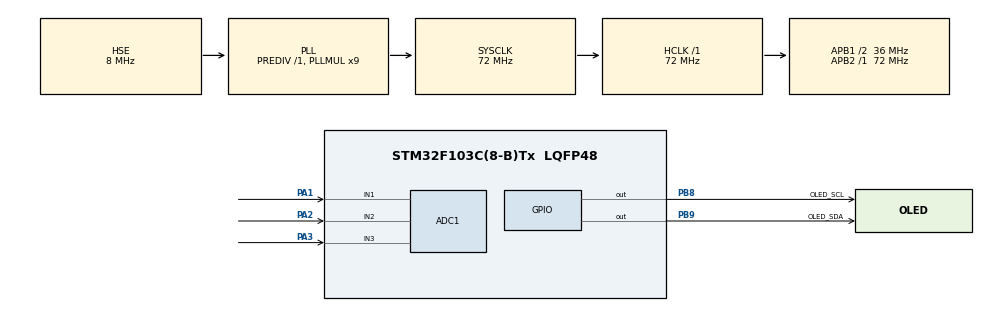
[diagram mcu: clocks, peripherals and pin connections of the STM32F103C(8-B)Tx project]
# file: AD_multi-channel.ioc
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ADC1.Channel-0\#ChannelRegularConversion=ADC_CHANNEL_1
ADC1.NbrOfConversionFlag=1
ADC1.Rank-0\#ChannelRegularConversion=1
ADC1.SamplingTime-0\#ChannelRegularConversion=ADC_SAMPLETIME_55CYCLES_5
ADC1.master=1
Mcu.Family=STM32F1
Mcu.Name=STM32F103C(8-B)Tx
Mcu.Package=LQFP48
NVIC.PriorityGroup=NVIC_PRIORITYGROUP_4
PA1.Signal=ADCx_IN1
PA13.Mode=Serial_Wire
PA13.Signal=SYS_JTMS-SWDIO
PA14.Mode=Serial_Wire
PA14.Signal=SYS_JTCK-SWCLK
PA2.Signal=ADCx_IN2
PA3.Signal=ADCx_IN3
PB8.GPIO_Label=OLED_SCL
PB8.GPIO_ModeDefaultOutputPP=GPIO_MODE_OUTPUT_OD
PB8.GPIO_PuPd=GPIO_PULLUP
PB8.PinState=GPIO_PIN_SET
PB8.Signal=GPIO_Output
PB9.GPIO_Label=OLED_SDA
PB9.GPIO_ModeDefaultOutputPP=GPIO_MODE_OUTPUT_OD
PB9.GPIO_PuPd=GPIO_PULLUP
PB9.PinState=GPIO_PIN_SET
PB9.Signal=GPIO_Output
PD0-OSC_IN.Mode=HSE-External-Oscillator
PD0-OSC_IN.Signal=RCC_OSC_IN
PD1-OSC_OUT.Mode=HSE-External-Oscillator
PD1-OSC_OUT.Signal=RCC_OSC_OUT
ProjectManager.HeapSize=0x200
ProjectManager.StackSize=0x400
ProjectManager.TargetToolchain=CMake
RCC.ADCPresc=RCC_ADCPCLK2_DIV6
RCC.AHBFreq_Value=72000000
RCC.APB1CLKDivider=RCC_HCLK_DIV2
RCC.APB1Freq_Value=36000000
RCC.APB1TimFreq_Value=72000000
RCC.APB2Freq_Value=72000000
RCC.APB2TimFreq_Value=72000000
RCC.HCLKFreq_Value=72000000
RCC.PLLMUL=RCC_PLL_MUL9
RCC.PLLSourceVirtual=RCC_PLLSOURCE_HSE
RCC.SYSCLKFreq_VALUE=72000000
RCC.SYSCLKSource=RCC_SYSCLKSOURCE_PLLCLK
RCC.USBFreq_Value=72000000
SH.ADCx_IN1.0=ADC1_IN1,IN1
SH.ADCx_IN2.0=ADC1_IN2,IN2
SH.ADCx_IN3.0=ADC1_IN3,IN3
board=custom

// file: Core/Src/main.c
/* USER CODE BEGIN Header */
/**
  ******************************************************************************
  * @file           : main.c
  * @brief          : Main program body
  ******************************************************************************
  * @attention
  *
  * Copyright (c) 2026 STMicroelectronics.
  * All rights reserved.
  *
  * This software is licensed under terms that can be found in the LICENSE file
  * in the root directory of this software component.
  * If no LICENSE file comes with this software, it is provided AS-IS.
  *
  ******************************************************************************
  */
/* USER CODE END Header */
#include "main.h"
#include "adc.h"
#include "gpio.h"

/* USER CODE BEGIN Includes */
#include "oled.h"
#include "AD.h"
/* USER CODE END Includes */

/* USER CODE BEGIN PV */
/* 传感器 12 位数字量缓存 (0 ~ 4095) */
uint16_t AD0_Light = 0;
uint16_t AD1_Temp  = 0;
uint16_t AD2_IR    = 0;

/* 转换后的模拟电压 (单位: V) */
float Voltage_Light = 0.0f;
float Voltage_Temp  = 0.0f;
float Voltage_IR    = 0.0f;
/* USER CODE END PV */

void SystemClock_Config(void);

int main(void)
{

  /* MCU Configuration--------------------------------------------------------*/

  /* Reset of all peripherals, Initializes the Flash interface and the Systick. */
  HAL_Init();

  /* Configure the system clock */
  SystemClock_Config();

  /* Initialize all configured peripherals */
  MX_GPIO_Init();
  MX_ADC1_Init();
  /* USER CODE BEGIN 2 */
  /* 初始化屏幕与 ADC 校准 */
    OLED_Init();
    AD_Init();

    /*绘制静态文本标签 (行号: 1~4，列号: 1~16) */
    OLED_ShowString(1, 1, "AD0_L:");
    OLED_ShowString(2, 1, "AD1_T:");
    OLED_ShowString(3, 1, "AD2_R:");

  /* USER CODE END 2 */

  /* Infinite loop */
  /* USER CODE BEGIN WHILE */
  while (1)
  {
    /* --- 1. 依次切换通道采集原始数据 --- */
        AD0_Light = AD_GetValue(AD_CHANNEL_LIGHT); // PA1 (ADC1_IN1)
        AD1_Temp  = AD_GetValue(AD_CHANNEL_TEMP);  // PA2 (ADC1_IN2)
        AD2_IR    = AD_GetValue(AD_CHANNEL_IR);    // PA3 (ADC1_IN3)

        /* --- 2. 标幺化换算为实际电压 (V = AD_Val / 4095.0 * 3.3V) --- */
        Voltage_Light = (float)AD0_Light / 4095.0f * 3.3f;
        Voltage_Temp  = (float)AD1_Temp  / 4095.0f * 3.3f;
        Voltage_IR    = (float)AD2_IR    / 4095.0f * 3.3f;

        /* --- 3. 刷新 12 位 AD 数字量 (4位宽度) --- */
        OLED_ShowNum(1, 7, AD0_Light, 4);
        OLED_ShowNum(2, 7, AD1_Temp,  4);
        OLED_ShowNum(3, 7, AD2_IR,    4);

        /* --- 4. 刷新计算后的电压值 (格式: X.XX V) --- */
        // 光敏传感器电压
        OLED_ShowNum(1, 12, (uint32_t)Voltage_Light, 1);
        OLED_ShowChar(1, 13, '.');
        OLED_ShowNum(1, 14, (uint32_t)(Voltage_Light * 100) % 100, 2);
        OLED_ShowChar(1, 16, 'V');

        // 热敏传感器电压
        OLED_ShowNum(2, 12, (uint32_t)Voltage_Temp, 1);
        OLED_ShowChar(2, 13, '.');
        OLED_ShowNum(2, 14, (uint32_t)(Voltage_Temp * 100) % 100, 2);
        OLED_ShowChar(2, 16, 'V');

        // 红外反射传感器电压
        OLED_ShowNum(3, 12, (uint32_t)Voltage_IR, 1);
        OLED_ShowChar(3, 13, '.');
        OLED_ShowNum(3, 14, (uint32_t)(Voltage_IR * 100) % 100, 2);
        OLED_ShowChar(3, 16, 'V');

        /* 刷新延时 (100ms) */
        HAL_Delay(100);
    }
    /* USER CODE END WHILE */

}

void SystemClock_Config(void)
{
  RCC_OscInitTypeDef RCC_OscInitStruct = {0};
  RCC_ClkInitTypeDef RCC_ClkInitStruct = {0};
  RCC_PeriphCLKInitTypeDef PeriphClkInit = {0};

  /** Initializes the RCC Oscillators according to the specified parameters
  * in the RCC_OscInitTypeDef structure.
  */
  RCC_OscInitStruct.OscillatorType = RCC_OSCILLATORTYPE_HSE;
  RCC_OscInitStruct.HSEState = RCC_HSE_ON;
  RCC_OscInitStruct.HSEPredivValue = RCC_HSE_PREDIV_DIV1;
  RCC_OscInitStruct.HSIState = RCC_HSI_ON;
  RCC_OscInitStruct.PLL.PLLState = RCC_PLL_ON;
  RCC_OscInitStruct.PLL.PLLSource = RCC_PLLSOURCE_HSE;
  RCC_OscInitStruct.PLL.PLLMUL = RCC_PLL_MUL9;
  if (HAL_RCC_OscConfig(&RCC_OscInitStruct) != HAL_OK)
  {
    Error_Handler();
  }

  /** Initializes the CPU, AHB and APB buses clocks
  */
  RCC_ClkInitStruct.ClockType = RCC_CLOCKTYPE_HCLK|RCC_CLOCKTYPE_SYSCLK
                              |RCC_CLOCKTYPE_PCLK1|RCC_CLOCKTYPE_PCLK2;
  RCC_ClkInitStruct.SYSCLKSource = RCC_SYSCLKSOURCE_PLLCLK;
  RCC_ClkInitStruct.AHBCLKDivider = RCC_SYSCLK_DIV1;
  RCC_ClkInitStruct.APB1CLKDivider = RCC_HCLK_DIV2;
  RCC_ClkInitStruct.APB2CLKDivider = RCC_HCLK_DIV1;

  if (HAL_RCC_ClockConfig(&RCC_ClkInitStruct, FLASH_LATENCY_2) != HAL_OK)
  {
    Error_Handler();
  }
  PeriphClkInit.PeriphClockSelection = RCC_PERIPHCLK_ADC;
  PeriphClkInit.AdcClockSelection = RCC_ADCPCLK2_DIV6;
  if (HAL_RCCEx_PeriphCLKConfig(&PeriphClkInit) != HAL_OK)
  {
    Error_Handler();
  }
}

void Error_Handler(void)
{
  __disable_irq();
  while (1)
  {
  }
}
